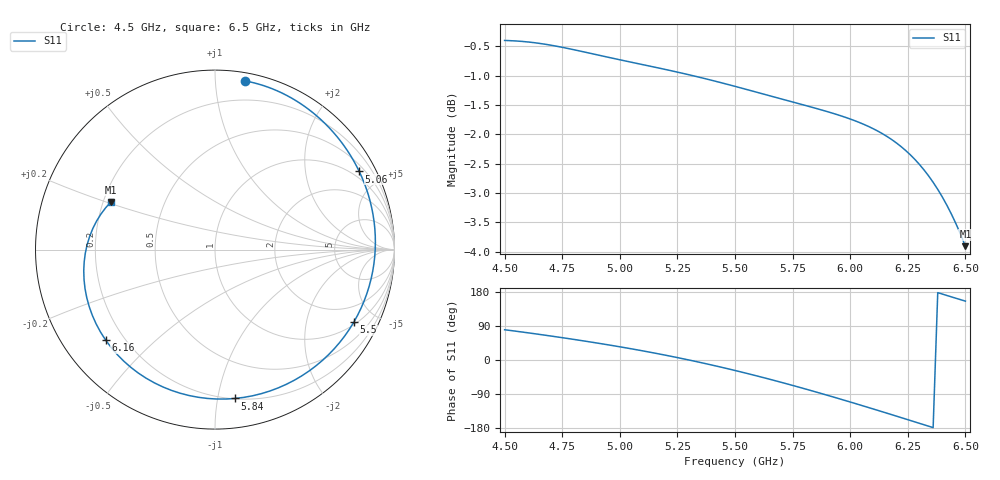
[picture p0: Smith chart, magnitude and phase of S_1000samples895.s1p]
! TOUCHSTONE file generated by CST MICROWAVE STUDIO
! Date and time: Sat Oct 29 17:41:04 2022
! Project name: L.cst
! Parameters = {Di=1.27; Epsilon_r=1.56; InnerDiameter=1.27; Length=2; Lf=10; Lg=60; OuterConductorThickness=0.2921; OuterDiameter=3.6; Wf=3; Wp=41.2; de=1.5; df=6.8; g=0.8; gx=3.53143; gy=1.466; h=2.34; hf=1.524; px=8.37385; py=11.1583; w=9.7; wx=4.84242; wy=9.69233}
! Header version: 2018
! Port assignment regex: !\s*Touchstone port\s*([0-9]+)\s*=\s*(CST MWS port|CST DS port)\s*([0-9]+|Zmin|Zmax)\s*\(\"(.*)\"\)(\s*mode\s*([0-9]+))?.*
! Touchstone port assignment:
! Touchstone port 1 = CST MWS port 1 ("")
# GHz S DB R 50
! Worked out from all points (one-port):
!   101 points, 4.5 GHz to 6.5 GHz, reference 50 ohm
!   lowest |S11| = -3.9 dB at 6.5 GHz (marker M1), VSWR 4.52, Z = 11.6 + j10.4 ohm
!   |S11| at or under -10 dB: nowhere
!   S11 on the Smith chart (normalised r, x): 4.5 GHz: 0.06, +1.19; 5.06 GHz: 0.72, +3.82; 5.5 GHz: 1.11, -3.76; 5.84 GHz: 0.20, -1.12; 6.16 GHz: 0.13, -0.35; 6.5 GHz: 0.23, +0.21
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4.5  -0.40 79.8
4.64  -0.45 68.5
4.76  -0.53 58.0
4.88  -0.63 46.8
5  -0.73 34.8
5.06  -0.78 28.5
5.16  -0.86 17.2
5.26  -0.95 5.1
5.32  -1.01 -2.6
5.38  -1.06 -10.6
5.44  -1.12 -19.0
5.5  -1.18 -27.7
5.56  -1.25 -36.7
5.62  -1.31 -45.9
5.7  -1.40 -58.8
5.76  -1.46 -68.7
5.84  -1.55 -82.4
5.92  -1.64 -96.4
5.96  -1.69 -103.6
6  -1.74 -110.8
6.08  -1.87 -125.5
6.16  -2.04 -140.5
6.22  -2.21 -151.8
6.26  -2.35 -159.4
6.32  -2.61 -170.8
6.38  -2.94 177.8
6.44  -3.37 166.4
6.5  -3.91 155.4
